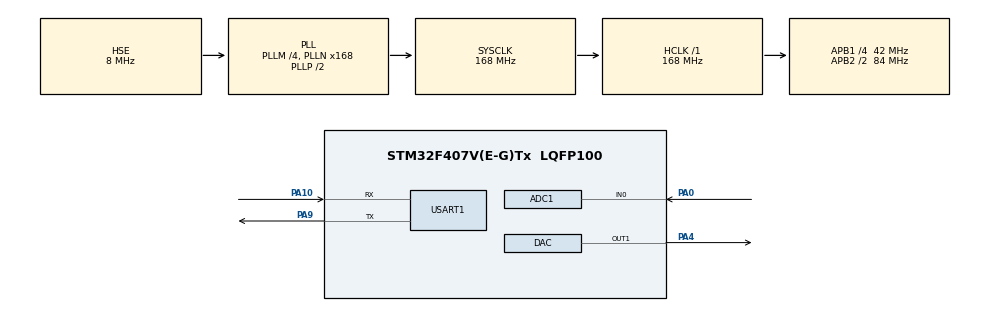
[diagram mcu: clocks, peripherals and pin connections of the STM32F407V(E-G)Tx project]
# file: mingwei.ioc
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ADC1.Channel-0\#ChannelRegularConversion=ADC_CHANNEL_0
ADC1.ContinuousConvMode=ENABLE
ADC1.DMAContinuousRequests=ENABLE
ADC1.NbrOfConversionFlag=1
ADC1.Rank-0\#ChannelRegularConversion=1
ADC1.SamplingTime-0\#ChannelRegularConversion=ADC_SAMPLETIME_3CYCLES
ADC1.ScanConvMode=DISABLE
ADC1.master=1
DAC.DAC_OutputBuffer=DAC_OUTPUTBUFFER_DISABLE
Dma.ADC1.2.Direction=DMA_PERIPH_TO_MEMORY
Dma.ADC1.2.FIFOMode=DMA_FIFOMODE_DISABLE
Dma.ADC1.2.Instance=DMA2_Stream0
Dma.ADC1.2.MemDataAlignment=DMA_MDATAALIGN_HALFWORD
Dma.ADC1.2.MemInc=DMA_MINC_ENABLE
Dma.ADC1.2.Mode=DMA_CIRCULAR
Dma.ADC1.2.PeriphDataAlignment=DMA_PDATAALIGN_HALFWORD
Dma.ADC1.2.PeriphInc=DMA_PINC_DISABLE
Dma.ADC1.2.Priority=DMA_PRIORITY_LOW
Dma.Request0=USART1_RX
Dma.Request1=USART1_TX
Dma.Request2=ADC1
Dma.USART1_RX.0.Direction=DMA_PERIPH_TO_MEMORY
Dma.USART1_RX.0.FIFOMode=DMA_FIFOMODE_DISABLE
Dma.USART1_RX.0.Instance=DMA2_Stream2
Dma.USART1_RX.0.MemDataAlignment=DMA_MDATAALIGN_BYTE
Dma.USART1_RX.0.MemInc=DMA_MINC_ENABLE
Dma.USART1_RX.0.Mode=DMA_CIRCULAR
Dma.USART1_RX.0.PeriphDataAlignment=DMA_PDATAALIGN_BYTE
Dma.USART1_RX.0.PeriphInc=DMA_PINC_DISABLE
Dma.USART1_RX.0.Priority=DMA_PRIORITY_LOW
Dma.USART1_TX.1.Direction=DMA_MEMORY_TO_PERIPH
Dma.USART1_TX.1.FIFOMode=DMA_FIFOMODE_DISABLE
Dma.USART1_TX.1.Instance=DMA2_Stream7
Dma.USART1_TX.1.MemDataAlignment=DMA_MDATAALIGN_BYTE
Dma.USART1_TX.1.MemInc=DMA_MINC_ENABLE
Dma.USART1_TX.1.Mode=DMA_NORMAL
Dma.USART1_TX.1.PeriphDataAlignment=DMA_PDATAALIGN_BYTE
Dma.USART1_TX.1.PeriphInc=DMA_PINC_DISABLE
Dma.USART1_TX.1.Priority=DMA_PRIORITY_LOW
Mcu.Family=STM32F4
Mcu.Name=STM32F407V(E-G)Tx
Mcu.Package=LQFP100
NVIC.ADC_IRQn=true\:0\:0\:false\:false\:true\:true\:true\:true
NVIC.DMA2_Stream0_IRQn=true\:0\:0\:false\:false\:true\:false\:true\:true
NVIC.DMA2_Stream2_IRQn=true\:0\:0\:false\:false\:true\:false\:true\:true
NVIC.DMA2_Stream7_IRQn=true\:0\:0\:false\:false\:true\:false\:true\:true
NVIC.PriorityGroup=NVIC_PRIORITYGROUP_4
NVIC.TIM6_DAC_IRQn=true\:0\:0\:false\:false\:true\:true\:true\:true
NVIC.USART1_IRQn=true\:0\:0\:false\:false\:true\:true\:true\:true
PA0-WKUP.Signal=ADCx_IN0
PA10.Mode=Asynchronous
PA10.Signal=USART1_RX
PA13.Mode=Serial_Wire
PA13.Signal=SYS_JTMS-SWDIO
PA14.Mode=Serial_Wire
PA14.Signal=SYS_JTCK-SWCLK
PA4.Signal=COMP_DAC1_group
PA9.Mode=Asynchronous
PA9.Signal=USART1_TX
PC14-OSC32_IN.Mode=LSE-External-Oscillator
PC14-OSC32_IN.Signal=RCC_OSC32_IN
PC15-OSC32_OUT.Mode=LSE-External-Oscillator
PC15-OSC32_OUT.Signal=RCC_OSC32_OUT
PH0-OSC_IN.Mode=HSE-External-Oscillator
PH0-OSC_IN.Signal=RCC_OSC_IN
PH1-OSC_OUT.Mode=HSE-External-Oscillator
PH1-OSC_OUT.Signal=RCC_OSC_OUT
ProjectManager.HeapSize=0x200
ProjectManager.StackSize=0x400
ProjectManager.TargetToolchain=MDK-ARM V5.32
RCC.48MHZClocksFreq_Value=84000000
RCC.AHBFreq_Value=168000000
RCC.APB1CLKDivider=RCC_HCLK_DIV4
RCC.APB1Freq_Value=42000000
RCC.APB1TimFreq_Value=84000000
RCC.APB2CLKDivider=RCC_HCLK_DIV2
RCC.APB2Freq_Value=84000000
RCC.APB2TimFreq_Value=168000000
RCC.CortexFreq_Value=168000000
RCC.HCLKFreq_Value=168000000
RCC.HSE_VALUE=8000000
RCC.HSI_VALUE=16000000
RCC.PLLM=4
RCC.PLLN=168
RCC.PLLSourceVirtual=RCC_PLLSOURCE_HSE
RCC.SYSCLKFreq_VALUE=168000000
RCC.SYSCLKSource=RCC_SYSCLKSOURCE_PLLCLK
RCC.VCOOutputFreq_Value=336000000
SH.ADCx_IN0.0=ADC1_IN0,IN0
SH.COMP_DAC1_group.0=DAC_OUT1,DAC_OUT1
USART1.VirtualMode=VM_ASYNC
board=custom

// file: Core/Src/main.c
/* USER CODE BEGIN Header */
/**
  ******************************************************************************
  * @file           : main.c
  * @brief          : Main program body
  ******************************************************************************
  * @attention
  *
  * Copyright (c) 2025 STMicroelectronics.
  * All rights reserved.
  *
  * This software is licensed under terms that can be found in the LICENSE file
  * in the root directory of this software component.
  * If no LICENSE file comes with this software, it is provided AS-IS.
  *
  ******************************************************************************
  */
/* USER CODE END Header */
#include "main.h"
#include "adc.h"
#include "dac.h"
#include "dma.h"
#include "usart.h"
#include "gpio.h"

/* USER CODE BEGIN Includes */
#include "Led.h"
#include "uart_app.h"
#include "dac_app.h"
#include "adc_app.h"
/* USER CODE END Includes */

/* USER CODE BEGIN PV */
LED_Handle_t led1;
LED_Handle_t led2;
UART_Handle_t hUart1;
uint8_t tx_buf[] = "Hello UART!\r\n";
uint8_t rx_buf[64];
DAC_Handle_t hdac_app;
ADC_Handle_t hadc_app;
uint16_t adc_buf[30];
float adc_data[1];
float pa;
/* USER CODE END PV */

void SystemClock_Config(void);

int main(void)
{

  /* MCU Configuration--------------------------------------------------------*/

  /* Reset of all peripherals, Initializes the Flash interface and the Systick. */
  HAL_Init();

  /* Configure the system clock */
  SystemClock_Config();

  /* Initialize all configured peripherals */
  MX_GPIO_Init();
  MX_DMA_Init();
  MX_USART1_UART_Init();
  MX_DAC_Init();
  MX_ADC1_Init();
  /* USER CODE BEGIN 2 */
  LED_Register(&led1, LED1);
	LED_Register(&led1, LED2);
  UART_Register(&hUart1, UART1);
	DAC_Register(&hdac_app, DAC_CH1);
  ADC_Register(&hadc_app, ADC_CH1);
//	ADC_StartRead(&hadc_app,adc_buf,sizeof(adc_buf),ADC_MODE_DMA);
//	HAL_ADC_Start_DMA(&hadc1,(uint32_t*)adc_buf,sizeof(adc_buf));
//	dac_set_voltage(3300);

  /* USER CODE END 2 */

  /* Infinite loop */
  while (1)
  {

    /* USER CODE BEGIN 3 */
		DAC_OutputValue(&hdac_app, 4095);
    ADC_StartRead(&hadc_app,adc_buf,30,ADC_MODE_DMA);
		adc_data[0]=0;
    for(uint8_t i =0;i<30;i++)
    {
      adc_data[0]+= adc_buf[i];
    }
    pa = ((float)adc_data[0] / 30.0f) * 3.3f / 4095.0f;

  }
  /* USER CODE END 3 */
}

void SystemClock_Config(void)
{
  RCC_OscInitTypeDef RCC_OscInitStruct = {0};
  RCC_ClkInitTypeDef RCC_ClkInitStruct = {0};

  /** Configure the main internal regulator output voltage
  */
  __HAL_RCC_PWR_CLK_ENABLE();
  __HAL_PWR_VOLTAGESCALING_CONFIG(PWR_REGULATOR_VOLTAGE_SCALE1);

  /** Initializes the RCC Oscillators according to the specified parameters
  * in the RCC_OscInitTypeDef structure.
  */
  RCC_OscInitStruct.OscillatorType = RCC_OSCILLATORTYPE_HSE;
  RCC_OscInitStruct.HSEState = RCC_HSE_ON;
  RCC_OscInitStruct.PLL.PLLState = RCC_PLL_ON;
  RCC_OscInitStruct.PLL.PLLSource = RCC_PLLSOURCE_HSE;
  RCC_OscInitStruct.PLL.PLLM = 4;
  RCC_OscInitStruct.PLL.PLLN = 168;
  RCC_OscInitStruct.PLL.PLLP = RCC_PLLP_DIV2;
  RCC_OscInitStruct.PLL.PLLQ = 4;
  if (HAL_RCC_OscConfig(&RCC_OscInitStruct) != HAL_OK)
  {
    Error_Handler();
  }

  /** Initializes the CPU, AHB and APB buses clocks
  */
  RCC_ClkInitStruct.ClockType = RCC_CLOCKTYPE_HCLK|RCC_CLOCKTYPE_SYSCLK
                              |RCC_CLOCKTYPE_PCLK1|RCC_CLOCKTYPE_PCLK2;
  RCC_ClkInitStruct.SYSCLKSource = RCC_SYSCLKSOURCE_PLLCLK;
  RCC_ClkInitStruct.AHBCLKDivider = RCC_SYSCLK_DIV1;
  RCC_ClkInitStruct.APB1CLKDivider = RCC_HCLK_DIV4;
  RCC_ClkInitStruct.APB2CLKDivider = RCC_HCLK_DIV2;

  if (HAL_RCC_ClockConfig(&RCC_ClkInitStruct, FLASH_LATENCY_5) != HAL_OK)
  {
    Error_Handler();
  }
}

void Error_Handler(void)
{
  __disable_irq();
  while (1)
  {
  }
}
